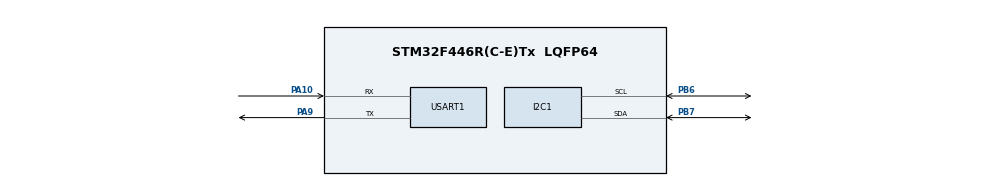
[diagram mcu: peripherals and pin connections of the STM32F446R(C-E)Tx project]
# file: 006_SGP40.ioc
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Mcu.Family=STM32F4
Mcu.Name=STM32F446R(C-E)Tx
Mcu.Package=LQFP64
NVIC.I2C1_ER_IRQn=true\:0\:0\:false\:false\:true\:true\:true\:true
NVIC.I2C1_EV_IRQn=true\:0\:0\:false\:false\:true\:true\:true\:true
NVIC.PriorityGroup=NVIC_PRIORITYGROUP_4
NVIC.USART1_IRQn=true\:0\:0\:false\:false\:true\:true\:true\:true
PA10.Mode=Asynchronous
PA10.Signal=USART1_RX
PA9.Mode=Asynchronous
PA9.Signal=USART1_TX
PB6.Mode=I2C
PB6.Signal=I2C1_SCL
PB7.Mode=I2C
PB7.Signal=I2C1_SDA
ProjectManager.HeapSize=0x200
ProjectManager.StackSize=0x400
ProjectManager.TargetToolchain=STM32CubeIDE
RCC.CortexFreq_Value=16000000
RCC.USBFreq_Value=96000000
RCC.VCOOutputFreq_Value=192000000
USART1.VirtualMode=VM_ASYNC
board=custom

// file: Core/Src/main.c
/* USER CODE BEGIN Header */
/**
  ******************************************************************************
  * @file           : main.c
  * @brief          : Main program body
  ******************************************************************************
  * @attention
  *
  * Copyright (c) 2025 STMicroelectronics.
  * All rights reserved.
  *
  * This software is licensed under terms that can be found in the LICENSE file
  * in the root directory of this software component.
  * If no LICENSE file comes with this software, it is provided AS-IS.
  *
  ******************************************************************************
  */
/* USER CODE END Header */
#include "main.h"

/* USER CODE BEGIN Includes */
#include "sensirion_common.h"
#include "sensirion_i2c_hal.h"
#include "sgp40_i2c.h"
#include <stdlib.h>
#include <stdio.h>
#include <string.h>
#include <stdint.h>
#include <stdarg.h>
#include "sensirion_gas_index_algorithm.h"
/* USER CODE END Includes */

I2C_HandleTypeDef hi2c1;

UART_HandleTypeDef huart1;

/* USER CODE BEGIN PV */
//static uint8_t tx_buffer[1000];
RingBuffer txBuf, rxBuf;
GasIndexAlgorithmParams voc_algorithm_params;
/* USER CODE END PV */

void SystemClock_Config(void);
static void MX_GPIO_Init(void);
static void MX_I2C1_Init(void);
static void MX_USART1_UART_Init(void);
/* USER CODE BEGIN PFP */
void interface_debug_print(const char *const fmt, ...);
void debug_i2c_status(void);
void init_voc_algorithm(void);
int32_t process_voc_measurement(uint16_t sraw_voc);
/* USER CODE END PFP */

int main(void)
{

  /* USER CODE BEGIN 1 */
	int16_t error = 0;
	uint16_t serial_number[3];
	uint8_t serial_number_size = 3;
  /* USER CODE END 1 */

  /* MCU Configuration--------------------------------------------------------*/

  /* Reset of all peripherals, Initializes the Flash interface and the Systick. */
  HAL_Init();

  /* Configure the system clock */
  SystemClock_Config();

  /* Initialize all configured peripherals */
  MX_GPIO_Init();
  MX_I2C1_Init();
  MX_USART1_UART_Init();
  /* USER CODE BEGIN 2 */
  debug_i2c_status();

  init_voc_algorithm();

  error = sgp40_get_serial_number(serial_number, serial_number_size);

  if (error) {
	  interface_debug_print("Error executing sgp40_get_serial_number(): %i\n", error);

	  return 1;
  } else {
	  // printf("Serial number: %" PRIu64 "\n",
	  //         (((uint64_t)serial_number[0]) << 32) |
	  //         (((uint64_t)serial_number[1]) << 16) |
	  //         ((uint64_t)serial_number[2]));
	  interface_debug_print("serial: 0x%04x%04x%04x\n", serial_number[0], serial_number[1],
			  serial_number[2]);
	  interface_debug_print("\r\n");
  }
  /* USER CODE END 2 */

  /* Infinite loop */
  /* USER CODE BEGIN WHILE */

  while (1)
  {
	    // Start Measurement

	    // Parameters for deactivated humidity compensation:
	    uint16_t default_rh = 0x8000;
	    uint16_t default_t = 0x6666;

	    uint16_t sraw_voc;

	    error = sgp40_measure_raw_signal(default_rh, default_t, &sraw_voc);
	    if (error) {
	    	interface_debug_print("Error executing sgp40_measure_raw_signal(): "
	    			"%i\r\n",
					error);
	    	continue;
	    }
	    else
	    {
	    	int32_t voc_index = process_voc_measurement(sraw_voc);
	    	interface_debug_print("Raw: %u, VOC Index: %ld\r\n", sraw_voc, voc_index);

	    	if (voc_index <= 100)
	    	{
	    		interface_debug_print("Air Quality: Good\r\n");
	    	}
	    	else if (voc_index <= 200)
	    	{
	    		interface_debug_print("Air Quality: Moderate\r\n");
	    	}
	    	else if (voc_index <= 300)
	    	{
	    		interface_debug_print("Air Quality: Poor\r\n");
	    	}
	    	else
	    	{
	    		interface_debug_print("Air Quality: Very Poor\r\n");
	    	}
	    }

	    sensirion_i2c_hal_sleep_usec(1000000);

    /* USER CODE END WHILE */

  }
}

void SystemClock_Config(void)
{
  RCC_OscInitTypeDef RCC_OscInitStruct = {0};
  RCC_ClkInitTypeDef RCC_ClkInitStruct = {0};

  /** Configure the main internal regulator output voltage
  */
  __HAL_RCC_PWR_CLK_ENABLE();
  __HAL_PWR_VOLTAGESCALING_CONFIG(PWR_REGULATOR_VOLTAGE_SCALE3);

  /** Initializes the RCC Oscillators according to the specified parameters
  * in the RCC_OscInitTypeDef structure.
  */
  RCC_OscInitStruct.OscillatorType = RCC_OSCILLATORTYPE_HSI;
  RCC_OscInitStruct.HSIState = RCC_HSI_ON;
  RCC_OscInitStruct.HSICalibrationValue = RCC_HSICALIBRATION_DEFAULT;
  RCC_OscInitStruct.PLL.PLLState = RCC_PLL_NONE;
  if (HAL_RCC_OscConfig(&RCC_OscInitStruct) != HAL_OK)
  {
    Error_Handler();
  }

  /** Initializes the CPU, AHB and APB buses clocks
  */
  RCC_ClkInitStruct.ClockType = RCC_CLOCKTYPE_HCLK|RCC_CLOCKTYPE_SYSCLK
                              |RCC_CLOCKTYPE_PCLK1|RCC_CLOCKTYPE_PCLK2;
  RCC_ClkInitStruct.SYSCLKSource = RCC_SYSCLKSOURCE_HSI;
  RCC_ClkInitStruct.AHBCLKDivider = RCC_SYSCLK_DIV1;
  RCC_ClkInitStruct.APB1CLKDivider = RCC_HCLK_DIV1;
  RCC_ClkInitStruct.APB2CLKDivider = RCC_HCLK_DIV1;

  if (HAL_RCC_ClockConfig(&RCC_ClkInitStruct, FLASH_LATENCY_0) != HAL_OK)
  {
    Error_Handler();
  }
}

static void MX_I2C1_Init(void)
{

  hi2c1.Instance = I2C1;
  hi2c1.Init.ClockSpeed = 100000;
  hi2c1.Init.DutyCycle = I2C_DUTYCYCLE_2;
  hi2c1.Init.OwnAddress1 = 0;
  hi2c1.Init.AddressingMode = I2C_ADDRESSINGMODE_7BIT;
  hi2c1.Init.DualAddressMode = I2C_DUALADDRESS_DISABLE;
  hi2c1.Init.OwnAddress2 = 0;
  hi2c1.Init.GeneralCallMode = I2C_GENERALCALL_DISABLE;
  hi2c1.Init.NoStretchMode = I2C_NOSTRETCH_DISABLE;
  if (HAL_I2C_Init(&hi2c1) != HAL_OK)
  {
    Error_Handler();
  }

}

static void MX_USART1_UART_Init(void)
{

  huart1.Instance = USART1;
  huart1.Init.BaudRate = 115200;
  huart1.Init.WordLength = UART_WORDLENGTH_8B;
  huart1.Init.StopBits = UART_STOPBITS_1;
  huart1.Init.Parity = UART_PARITY_NONE;
  huart1.Init.Mode = UART_MODE_TX_RX;
  huart1.Init.HwFlowCtl = UART_HWCONTROL_NONE;
  huart1.Init.OverSampling = UART_OVERSAMPLING_16;
  if (HAL_UART_Init(&huart1) != HAL_OK)
  {
    Error_Handler();
  }

}

static void MX_GPIO_Init(void)
{

  /* GPIO Ports Clock Enable */
  __HAL_RCC_GPIOA_CLK_ENABLE();
  __HAL_RCC_GPIOB_CLK_ENABLE();

}

/* USER CODE BEGIN 4 */
uint8_t UART_Transmit(UART_HandleTypeDef *huart, uint8_t *pData, uint16_t len)
{
  if (huart->gState == HAL_UART_STATE_READY)
  {
    if (HAL_UART_Transmit_IT(huart, pData, len) == HAL_OK)
    {
      return 1;
    }
  }

  // If UART is busy, store in ring buffer
  if (RingBuffer_Write(&txBuf, pData, len) == RING_BUFFER_OK)
  {
    return 1;
  }

  return 0;
}

void interface_debug_print(const char *const fmt, ...)
{
	char str[256];
	uint16_t len;
	va_list args;

    memset((char *)str, 0, sizeof(char) * 256);
    va_start(args, fmt);
    vsnprintf((char *)str, 255, (char const *)fmt, args);
    va_end(args);

    len = strlen((char *)str);
    HAL_UART_Transmit(&huart1, (uint8_t *)str, len, 1000);
}

void debug_i2c_status(void)
{
    interface_debug_print("\nI2C State: %d\r\n", hi2c1.State);
    interface_debug_print("I2C Error: 0x%08lx\r\n", hi2c1.ErrorCode);

    // test basic i2c communication
    HAL_StatusTypeDef status = HAL_I2C_IsDeviceReady(&hi2c1, (0x59 << 1), 3, 1000);
    interface_debug_print("Device Ready Status: %d\r\n", status);

    if (status == HAL_OK) {
        interface_debug_print("SGP40 device found at address 0x59\r\n");
    } else {
        interface_debug_print("SGP40 device NOT found at address 0x59\r\n");
        interface_debug_print("HAL Error: 0x%08lx\r\n", hi2c1.ErrorCode);
    }
}

void init_voc_algorithm(void)
{
    // init VOC measurement
    GasIndexAlgorithm_init(&voc_algorithm_params, GasIndexAlgorithm_ALGORITHM_TYPE_VOC);
    interface_debug_print("VOC Algorithm initialized\r\n");
}

int32_t process_voc_measurement(uint16_t sraw_voc)
{
    int32_t voc_index_value;

    // convert uint16_t to int32_t as required by the algorithm
    int32_t voc_raw_value = (int32_t)sraw_voc;

    // process the raw value to get VOC index (0-500)
    GasIndexAlgorithm_process(&voc_algorithm_params, voc_raw_value, &voc_index_value);

    return voc_index_value;
}
/* USER CODE END 4 */

void Error_Handler(void)
{
  __disable_irq();
  while (1)
  {
  }
}
